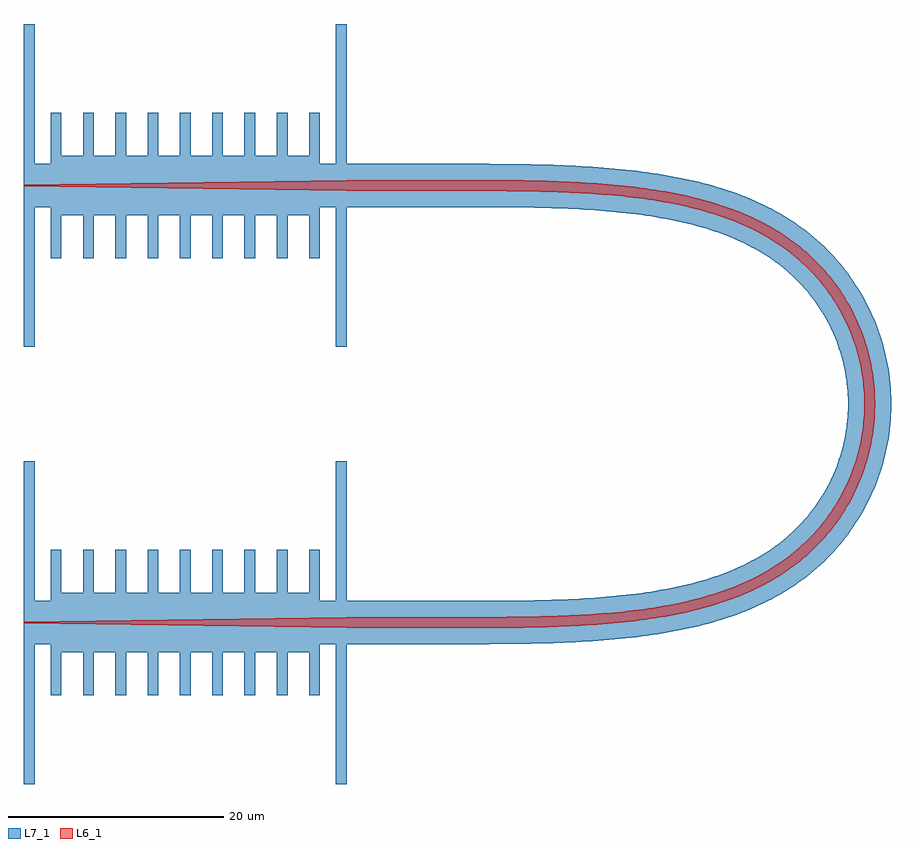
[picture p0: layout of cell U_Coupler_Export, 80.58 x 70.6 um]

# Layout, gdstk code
from math import pi, radians
import gdstk
lib = gdstk.Library(unit=1e-6, precision=1e-09)
def R(c, l, rs):  # rectangles x0, y0, x1, y1
    for r in rs: c.add(gdstk.rectangle(r[:2], r[2:], *l))
def A(c, l, x, y, w, h, nx, ny, dx, dy):  # array of equal rectangles
    R(c, l, [(x+i*dx, y+j*dy, x+i*dx+w, y+j*dy+h) for i in range(nx) for j in range(ny)])
def P(c, l, *ps):  # polygons
    for p in ps: c.add(gdstk.Polygon(p, *l))
L6_1 = (6, 1)
L7_1 = (7, 1)

couplerinlet = lib.new_cell('CouplerInlet')
P(couplerinlet, L6_1, [(-33.954,47.721),(-3.954,48.146),(-3.954,47.146),(-33.954,47.571)])
R(couplerinlet, L7_1, [(-33.954,45.646,-3.954,49.646)])

anchoredcouplerinlet_woc = lib.new_cell('AnchoredCouplerInlet_woComb_Expo')
R(anchoredcouplerinlet_woc, L7_1, [(16.5,9.075,17.5,22.075), (45.5,9.075,46.5,22.075), (16.5,26.075,17.5,39.075), (45.5,26.075,46.5,39.075)])
anchoredcouplerinlet_woc.add(gdstk.Reference(couplerinlet, (50.454,-23.571)))

comb_l4w1_g500_d500_stop = lib.new_cell('Comb_L4W1_G500_D500_StoppersCent')
A(comb_l4w1_g500_d500_stop, L7_1, 19, 19.075, 1, 1.3, 9, 1, 3, 0)
A(comb_l4w1_g500_d500_stop, L7_1, 19, 19.825, 1, 4, 9, 1, 3, 0)
R(comb_l4w1_g500_d500_stop, L7_1, [(19,19.075,44,19.825)])

actuator_stopperscenter_ = lib.new_cell('Actuator_StoppersCenter_Export')
actuator_stopperscenter_.add(gdstk.Reference(anchoredcouplerinlet_woc, (45.412,-2.987)))
actuator_stopperscenter_.add(gdstk.Reference(comb_l4w1_g500_d500_stop, (108.412,38.163), rotation=pi))
actuator_stopperscenter_.add(gdstk.Reference(comb_l4w1_g500_d500_stop, (45.412,4.013)))

sinecircsine180_0p6_r018 = lib.new_cell('SineCircSine180_0p6_R018277nm_Of')
sinecircsine180_0p6_r018.add(gdstk.FlexPath([(-20.3,-30.3),(-20.3,-18.677),(-20.299,-18.136),(-20.298,-17.596),(-20.296,-17.056),(-20.29,-15.98),(-20.286,-15.442),(-20.28,-14.906),(-20.274,-14.372),(-20.266,-13.838),(-20.257,-13.306),(-20.246,-12.775),(-20.234,-12.247),(-20.219,-11.719),(-20.203,-11.194),(-20.186,-10.671),(-20.165,-10.149),(-20.143,-9.63),(-20.119,-9.114),(-20.092,-8.599),(-20.062,-8.087),(-20.03,-7.578),(-19.995,-7.072),(-19.957,-6.568),(-19.917,-6.067),(-19.873,-5.57),(-19.826,-5.075),(-19.776,-4.584),(-19.723,-4.096),(-19.666,-3.611),(-19.606,-3.13),(-19.542,-2.653),(-19.474,-2.179),(-19.403,-1.709),(-19.327,-1.243),(-19.248,-0.781),(-19.165,-0.323),(-19.077,0.131),(-18.986,0.58),(-18.89,1.026),(-18.789,1.467),(-18.685,1.903),(-18.575,2.335),(-18.461,2.763),(-18.343,3.186),(-18.22,3.604),(-18.092,4.017),(-17.959,4.425),(-17.821,4.829),(-17.678,5.227),(-17.53,5.621),(-17.377,6.009),(-17.22,6.393),(-17.056,6.771),(-16.888,7.144),(-16.714,7.512),(-16.535,7.874),(-16.351,8.231),(-16.161,8.583),(-15.966,8.929),(-15.765,9.269),(-15.559,9.605),(-15.348,9.934),(-15.131,10.259),(-14.908,10.577),(-14.679,10.89),(-14.446,11.198),(-14.206,11.499),(-13.961,11.795),(-13.71,12.086),(-13.453,12.371),(-13.191,12.65),(-12.923,12.923),(-12.65,13.191),(-12.371,13.453),(-12.086,13.709),(-11.797,13.96),(-11.502,14.204),(-11.202,14.441),(-10.897,14.673),(-10.587,14.898),(-10.273,15.116),(-9.954,15.328),(-9.631,15.533),(-9.303,15.731),(-8.972,15.923),(-8.637,16.107),(-8.297,16.284),(-7.955,16.455),(-7.608,16.618),(-7.258,16.773),(-6.906,16.922),(-6.55,17.063),(-6.191,17.196),(-5.829,17.322),(-5.465,17.44),(-5.099,17.551),(-4.73,17.654),(-4.36,17.749),(-3.987,17.836),(-3.612,17.916),(-3.236,17.988),(-2.859,18.051),(-2.48,18.107),(-2.101,18.155),(-1.72,18.195),(-1.339,18.227),(-0.957,18.251),(-0.574,18.267),(-0.191,18.275),(0.191,18.275),(0.574,18.267),(0.957,18.251),(1.339,18.227),(1.72,18.195),(2.101,18.155),(2.48,18.107),(2.859,18.051),(3.236,17.988),(3.612,17.916),(3.987,17.836),(4.36,17.749),(4.73,17.654),(5.099,17.551),(5.465,17.44),(5.829,17.322),(6.191,17.196),(6.55,17.063),(6.906,16.922),(7.258,16.773),(7.608,16.618),(7.955,16.455),(8.297,16.284),(8.637,16.107),(8.972,15.923),(9.303,15.731),(9.631,15.533),(9.954,15.328),(10.273,15.116),(10.587,14.898),(10.897,14.673),(11.202,14.441),(11.502,14.204),(11.797,13.96),(12.086,13.709),(12.371,13.453),(12.65,13.191),(12.923,12.923),(13.191,12.65),(13.453,12.371),(13.71,12.086),(13.961,11.795),(14.206,11.499),(14.446,11.198),(14.679,10.89),(14.908,10.577),(15.131,10.259),(15.348,9.934),(15.559,9.605),(15.765,9.269),(15.966,8.929),(16.161,8.583),(16.351,8.231),(16.535,7.874),(16.714,7.512),(16.888,7.144),(17.056,6.771),(17.22,6.393),(17.377,6.009),(17.53,5.621),(17.678,5.227),(17.821,4.829),(17.959,4.425),(18.092,4.017),(18.22,3.604),(18.343,3.186),(18.461,2.763),(18.575,2.335),(18.685,1.903),(18.789,1.467),(18.89,1.026),(18.986,0.58),(19.077,0.131),(19.165,-0.323),(19.248,-0.781),(19.327,-1.243),(19.403,-1.709),(19.474,-2.179),(19.542,-2.653),(19.606,-3.13),(19.666,-3.611),(19.723,-4.096),(19.776,-4.584),(19.826,-5.075),(19.873,-5.57),(19.917,-6.067),(19.957,-6.568),(19.995,-7.072),(20.03,-7.578),(20.062,-8.087),(20.092,-8.599),(20.119,-9.114),(20.143,-9.63),(20.165,-10.149),(20.186,-10.671),(20.203,-11.194),(20.219,-11.719),(20.234,-12.247),(20.246,-12.775),(20.257,-13.306),(20.266,-13.838),(20.274,-14.372),(20.28,-14.906),(20.286,-15.442),(20.29,-15.98),(20.296,-17.056),(20.298,-17.596),(20.299,-18.136),(20.3,-18.677),(20.3,-30.3)], 4, ends="flush", simple_path=True, layer=7, datatype=1))  # L7_1
sinecircsine180_0p6_r018.add(gdstk.FlexPath([(-20.3,-30.3),(-20.3,-18.677),(-20.299,-18.136),(-20.298,-17.596),(-20.296,-17.056),(-20.29,-15.98),(-20.286,-15.442),(-20.28,-14.906),(-20.274,-14.372),(-20.266,-13.838),(-20.257,-13.306),(-20.246,-12.775),(-20.234,-12.247),(-20.219,-11.719),(-20.203,-11.194),(-20.186,-10.671),(-20.165,-10.149),(-20.143,-9.63),(-20.119,-9.114),(-20.092,-8.599),(-20.062,-8.087),(-20.03,-7.578),(-19.995,-7.072),(-19.957,-6.568),(-19.917,-6.067),(-19.873,-5.57),(-19.826,-5.075),(-19.776,-4.584),(-19.723,-4.096),(-19.666,-3.611),(-19.606,-3.13),(-19.542,-2.653),(-19.474,-2.179),(-19.403,-1.709),(-19.327,-1.243),(-19.248,-0.781),(-19.165,-0.323),(-19.077,0.131),(-18.986,0.58),(-18.89,1.026),(-18.789,1.467),(-18.685,1.903),(-18.575,2.335),(-18.461,2.763),(-18.343,3.186),(-18.22,3.604),(-18.092,4.017),(-17.959,4.425),(-17.821,4.829),(-17.678,5.227),(-17.53,5.621),(-17.377,6.009),(-17.22,6.393),(-17.056,6.771),(-16.888,7.144),(-16.714,7.512),(-16.535,7.874),(-16.351,8.231),(-16.161,8.583),(-15.966,8.929),(-15.765,9.269),(-15.559,9.605),(-15.348,9.934),(-15.131,10.259),(-14.908,10.577),(-14.679,10.89),(-14.446,11.198),(-14.206,11.499),(-13.961,11.795),(-13.71,12.086),(-13.453,12.371),(-13.191,12.65),(-12.923,12.923),(-12.65,13.191),(-12.371,13.453),(-12.086,13.709),(-11.797,13.96),(-11.502,14.204),(-11.202,14.441),(-10.897,14.673),(-10.587,14.898),(-10.273,15.116),(-9.954,15.328),(-9.631,15.533),(-9.303,15.731),(-8.972,15.923),(-8.637,16.107),(-8.297,16.284),(-7.955,16.455),(-7.608,16.618),(-7.258,16.773),(-6.906,16.922),(-6.55,17.063),(-6.191,17.196),(-5.829,17.322),(-5.465,17.44),(-5.099,17.551),(-4.73,17.654),(-4.36,17.749),(-3.987,17.836),(-3.612,17.916),(-3.236,17.988),(-2.859,18.051),(-2.48,18.107),(-2.101,18.155),(-1.72,18.195),(-1.339,18.227),(-0.957,18.251),(-0.574,18.267),(-0.191,18.275),(0.191,18.275),(0.574,18.267),(0.957,18.251),(1.339,18.227),(1.72,18.195),(2.101,18.155),(2.48,18.107),(2.859,18.051),(3.236,17.988),(3.612,17.916),(3.987,17.836),(4.36,17.749),(4.73,17.654),(5.099,17.551),(5.465,17.44),(5.829,17.322),(6.191,17.196),(6.55,17.063),(6.906,16.922),(7.258,16.773),(7.608,16.618),(7.955,16.455),(8.297,16.284),(8.637,16.107),(8.972,15.923),(9.303,15.731),(9.631,15.533),(9.954,15.328),(10.273,15.116),(10.587,14.898),(10.897,14.673),(11.202,14.441),(11.502,14.204),(11.797,13.96),(12.086,13.709),(12.371,13.453),(12.65,13.191),(12.923,12.923),(13.191,12.65),(13.453,12.371),(13.71,12.086),(13.961,11.795),(14.206,11.499),(14.446,11.198),(14.679,10.89),(14.908,10.577),(15.131,10.259),(15.348,9.934),(15.559,9.605),(15.765,9.269),(15.966,8.929),(16.161,8.583),(16.351,8.231),(16.535,7.874),(16.714,7.512),(16.888,7.144),(17.056,6.771),(17.22,6.393),(17.377,6.009),(17.53,5.621),(17.678,5.227),(17.821,4.829),(17.959,4.425),(18.092,4.017),(18.22,3.604),(18.343,3.186),(18.461,2.763),(18.575,2.335),(18.685,1.903),(18.789,1.467),(18.89,1.026),(18.986,0.58),(19.077,0.131),(19.165,-0.323),(19.248,-0.781),(19.327,-1.243),(19.403,-1.709),(19.474,-2.179),(19.542,-2.653),(19.606,-3.13),(19.666,-3.611),(19.723,-4.096),(19.776,-4.584),(19.826,-5.075),(19.873,-5.57),(19.917,-6.067),(19.957,-6.568),(19.995,-7.072),(20.03,-7.578),(20.062,-8.087),(20.092,-8.599),(20.119,-9.114),(20.143,-9.63),(20.165,-10.149),(20.186,-10.671),(20.203,-11.194),(20.219,-11.719),(20.234,-12.247),(20.246,-12.775),(20.257,-13.306),(20.266,-13.838),(20.274,-14.372),(20.28,-14.906),(20.286,-15.442),(20.29,-15.98),(20.296,-17.056),(20.298,-17.596),(20.299,-18.136),(20.3,-18.677),(20.3,-30.3)], 1, ends="flush", simple_path=True, layer=6, datatype=1))  # L6_1

couplerbody = lib.new_cell('CouplerBody')
couplerbody.add(gdstk.Reference(sinecircsine180_0p6_r018, (-2709.611,-1097.046)))

u_coupler_export = lib.new_cell('U_Coupler_Export')
u_coupler_export.add(gdstk.Reference(actuator_stopperscenter_, (-100.003,-37.613)))
u_coupler_export.add(gdstk.Reference(couplerbody, (1119.255,-2705.836), rotation=3*pi/2))
u_coupler_export.add(gdstk.Reference(actuator_stopperscenter_, (-100.003,2.987)))

lib.write_gds('U_Coupler_Export.gds')
